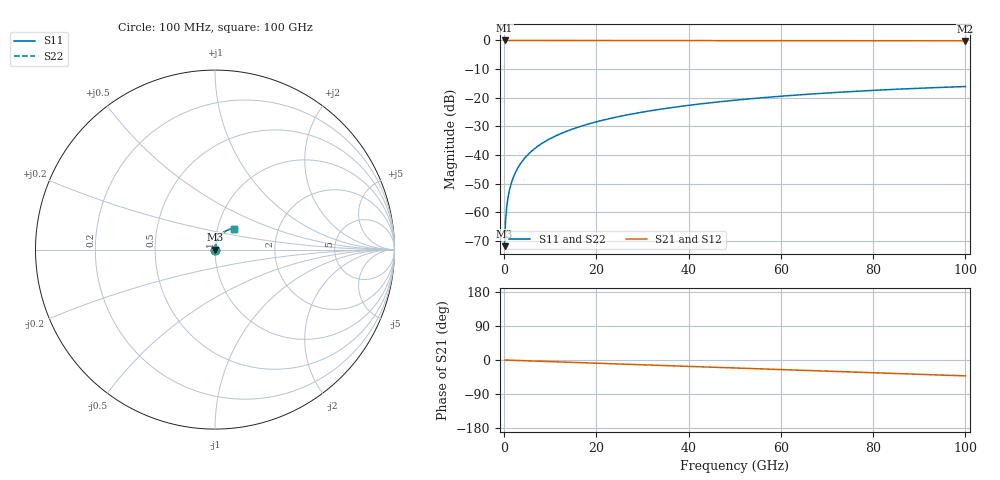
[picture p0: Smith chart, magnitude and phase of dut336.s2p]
! Touchstone file exported from HFSS 2026.1.0
!  File:  C:/ffzhzh/LocalFiles/Ansys_Project_Files/temp_train_TSV_336_1783509763_41296.aedt
!  Generated:  07:24:05 PM Jul  8, 2026
!  Design:  TSV
!  Project:  temp_train_TSV_336_1783509763_41296
! Variables:
!  h_bsmrdl = 2um
!  h_ox = 20um
!  h_rdl = 5um
!  h_sub = 77.8um
!  h_tmrdl = 5um
!  h_tsv = 77.8um
!  h_via = 3um
!  l_bsmrdl = 300um
!  l_sub = 420.64um
!  l_tmrdl = 200um
!  m_sub = 200um
!  pitch = 56.79um
!  r_tsv = 10.32um
!  s_tmrdl = 10um
!  w_bsmrdl = 18um
!  w_sub = 500um
!  w_tmrdl = 12um
!  x_tsv_center1 = 206um
!  x_tsv_center2 = 524um
!  x_tsv_center3 = 736um
!  x_tsv_center4 = 1054um
!  x_tsv_center5 = 1266um
!  x_tsv_center6 = 1584um
# GHz S MA R 50.000000
! Terminal data exported
! Port[1] = TSV1_1_T1
! Port[2] = TSV1_1_T2
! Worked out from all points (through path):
!   1000 points, 100 MHz to 100 GHz, reference 50 ohm
!   highest |S21| = 0.00 dB at 100 MHz (marker M1); lowest = -0.1 dB at 100 GHz (marker M2)
!   group delay of S21, straight-line fit = 1.16 ps
!   lowest |S11| = -71.8 dB at 100 MHz (marker M3), VSWR 1.00, Z = 50 + j0.023 ohm
!   |S11| at or under -10 dB: start of sweep to end of sweep
!   |S22| runs from -71.8 to -16.1 dB; largest |S21 - S12| = 5.1e-15
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0.1  0.0002578 63.3  0.9999 -0.0  0.9999 -0.0  0.0002578 63.3
! Gamma 0 0 0 0
! Port Impedance 50 0 50 0
0.3  0.0006945 77.9  0.9999 -0.1  0.9999 -0.1  0.0006945 77.9
0.7  0.001534 81.5  0.9998 -0.3  0.9998 -0.3  0.001534 81.5
0.8  0.001736 81.8  0.9998 -0.4  0.9998 -0.4  0.001736 81.8
1  0.002136 82.5  0.9997 -0.4  0.9997 -0.4  0.002136 82.5
1.3  0.00273 83.1  0.9997 -0.6  0.9997 -0.6  0.00273 83.1
1.7  0.003519 83.7  0.9997 -0.7  0.9997 -0.7  0.003519 83.7
2.3  0.004693 84.2  0.9996 -1.0  0.9996 -1.0  0.004693 84.2
3  0.006053 84.4  0.9995 -1.3  0.9995 -1.3  0.006053 84.4
3.8  0.007597 84.5  0.9995 -1.6  0.9995 -1.6  0.007597 84.5
4.8  0.009515 84.5  0.9994 -2.1  0.9994 -2.1  0.009515 84.5
6  0.01181 84.3  0.9993 -2.6  0.9993 -2.6  0.01181 84.3
8.8  0.01713 83.6  0.9991 -3.7  0.9991 -3.7  0.01713 83.6
12.4  0.02392 82.5  0.9988 -5.3  0.9988 -5.3  0.02392 82.5
16.8  0.03214 80.9  0.9984 -7.1  0.9984 -7.1  0.03214 80.9
24.2  0.04577 78.1  0.9976 -10.3  0.9976 -10.3  0.04577 78.1
33.4  0.06232 74.5  0.9965 -14.1  0.9965 -14.1  0.06232 74.5
41.2  0.07589 71.3  0.9954 -17.4  0.9954 -17.4  0.07589 71.3
50.1  0.09077 67.7  0.994 -21.1  0.994 -21.1  0.09077 67.7
66.7  0.1164 60.9  0.991 -28.1  0.991 -28.1  0.1164 60.9
83.4  0.1389 54.1  0.9879 -35.0  0.9879 -35.0  0.1389 54.1
100  0.1571 47.3  0.9848 -42.0  0.9848 -42.0  0.1571 47.3
